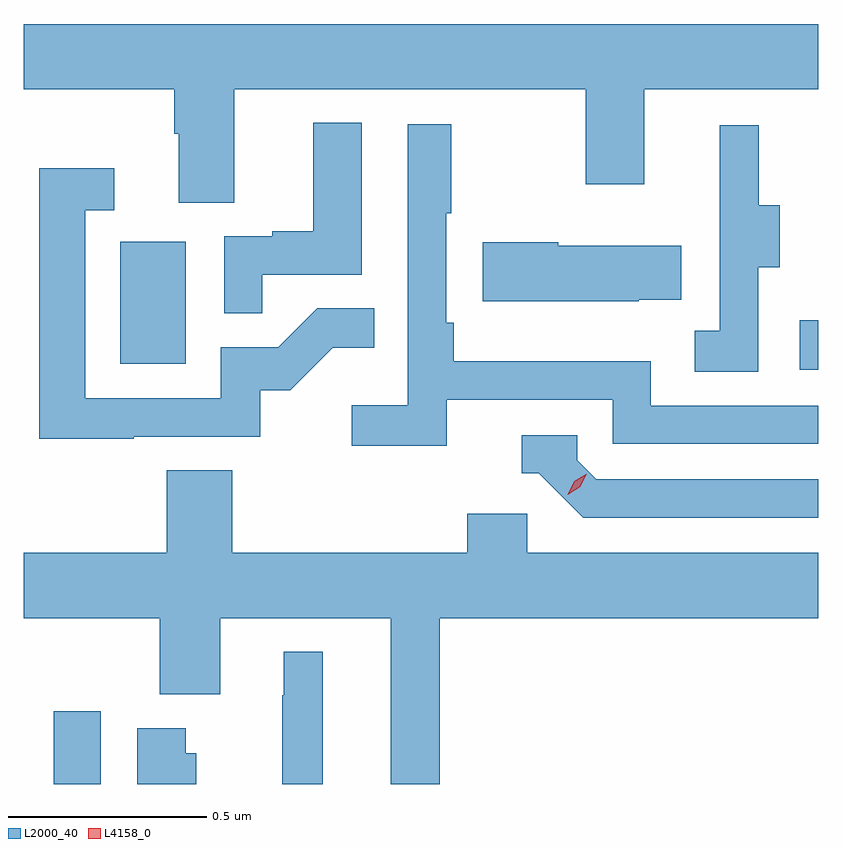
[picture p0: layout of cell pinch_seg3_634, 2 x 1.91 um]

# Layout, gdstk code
import gdstk
lib = gdstk.Library(unit=1e-6, precision=1e-09)
def R(c, l, rs):  # rectangles x0, y0, x1, y1
    for r in rs: c.add(gdstk.rectangle(r[:2], r[2:], *l))
def P(c, l, *ps):  # polygons
    for p in ps: c.add(gdstk.Polygon(p, *l))
L2000_40 = (2000, 40)
L4158_0 = (4158, 0)

pinch_seg3_634 = lib.new_cell('pinch_seg3_634')
R(pinch_seg3_634, L2000_40, [(1077.35,684.514,1077.469,684.697), (1079.229,685.557,1079.275,685.682), (1077.518,685.572,1077.682,685.879)])
P(pinch_seg3_634, L2000_40, [(1077.805,686.264),(1078.69,686.264),(1078.69,686.025),(1078.837,686.025),(1078.837,686.264),(1079.275,686.264),(1079.275,686.428),(1077.275,686.428),(1077.275,686.264),(1077.653,686.264),(1077.653,686.152),(1077.665,686.152),(1077.665,685.978),(1077.805,685.978)],
  [(1077.875,685.797),(1078.126,685.797),(1078.126,686.179),(1078.004,686.179),(1078.004,685.906),(1077.901,685.906),(1077.901,685.893),(1077.78,685.893),(1077.78,685.699),(1077.875,685.699)],
  [(1078.34,685.482),(1078.758,685.482),(1078.758,685.371),(1079.275,685.371),(1079.275,685.467),(1078.854,685.467),(1078.854,685.579),(1078.358,685.579),(1078.358,685.675),(1078.338,685.675),(1078.338,685.951),(1078.351,685.951),(1078.351,686.176),(1078.242,686.176),(1078.242,685.468),(1078.101,685.468),(1078.101,685.366),(1078.34,685.366)],
  [(1079.124,685.816),(1079.179,685.816),(1079.179,685.971),(1079.125,685.971),(1079.125,686.173),(1079.027,686.173),(1079.027,685.959),(1079.028,685.959),(1079.028,685.655),(1078.965,685.655),(1078.965,685.552),(1079.124,685.552)],
  [(1077.551,685.389),(1077.87,685.389),(1077.87,685.506),(1077.946,685.506),(1078.053,685.613),(1078.157,685.613),(1078.157,685.712),(1078.014,685.712),(1077.916,685.614),(1077.771,685.614),(1077.771,685.485),(1077.429,685.485),(1077.429,685.959),(1077.502,685.959),(1077.502,686.065),(1077.313,686.065),(1077.313,685.384),(1077.551,685.384)],
  [(1078.823,685.733),(1078.931,685.733),(1078.931,685.87),(1078.621,685.87),(1078.621,685.878),(1078.43,685.878),(1078.43,685.73),(1078.823,685.73)],
  [(1079.275,685.281),(1078.716,685.281),(1078.668,685.329),(1078.668,685.392),(1078.529,685.392),(1078.529,685.296),(1078.572,685.296),(1078.683,685.185),(1079.275,685.185)],
  [(1078.322,684.932),(1079.275,684.932),(1079.275,685.096),(1078.542,685.096),(1078.542,685.194),(1078.391,685.194),(1078.391,685.096),(1077.8,685.096),(1077.8,685.304),(1077.635,685.304),(1077.635,685.096),(1077.275,685.096),(1077.275,684.932),(1077.617,684.932),(1077.617,684.74),(1077.769,684.74),(1077.769,684.932),(1078.199,684.932),(1078.199,684.514),(1078.322,684.514)],
  [(1078.027,684.847),(1077.929,684.847),(1077.929,684.737),(1077.925,684.737),(1077.925,684.514),(1078.027,684.514)],
  [(1077.709,684.591),(1077.682,684.591),(1077.682,684.655),(1077.56,684.655),(1077.56,684.514),(1077.709,684.514)])
P(pinch_seg3_634, L4158_0, [(1078.644,685.243),(1078.644,685.243),(1078.661,685.276),(1078.692,685.295),(1078.692,685.295),(1078.692,685.295),(1078.676,685.262),(1078.645,685.243)])

lib.write_gds('pinch_seg3_634.gds')
